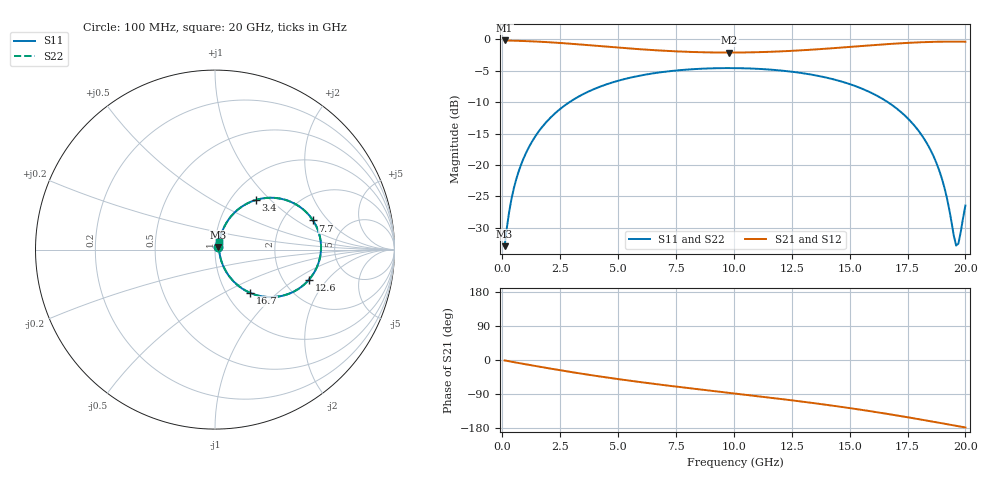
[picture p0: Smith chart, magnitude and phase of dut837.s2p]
! Touchstone file exported from HFSS 2026.1.0
!  File:  C:/ffzhzh/LocalFiles/Ansys_Project_Files/temp_train_TSV_RDL_837_1783267633_39728.aedt
!  Generated:  12:17:21 AM Jul  6, 2026
!  Design:  TSV_RDL
!  Project:  temp_train_TSV_RDL_837_1783267633_39728
! Variables:
!  h_bsmrdl = 2.57um
!  h_ox = 20um
!  h_rdl = 5um
!  h_sub = 50.45um
!  h_tmrdl = 2.85um
!  h_tsv = 50.45um
!  h_via = 3um
!  l_bsmrdl = 535.66um
!  l_sub = 3172.53um
!  l_tmrdl = 259.01um
!  m_sub = 200um
!  pitch = 54.67um
!  r_tsv = 5.6um
!  s_tmrdl = 10um
!  w_bsmrdl = 28.02um
!  w_sub = 500um
!  w_tmrdl = 15.15um
!  x_tsv_center1 = 266.585um
!  x_tsv_center2 = 830.265um
!  x_tsv_center3 = 1104.425um
!  x_tsv_center4 = 1668.105um
!  x_tsv_center5 = 1942.265um
!  x_tsv_center6 = 2505.945um
# GHz S MA R 50.000000
! Terminal data exported
! Port[1] = TM_RDL1_1_T1
! Port[2] = TM_RDL5_1_T1
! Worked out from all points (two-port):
!   200 points, 100 MHz to 20 GHz, reference 50 ohm
!   highest |S21| = -0.16 dB at 100 MHz (marker M1); lowest = -2.1 dB at 9.8 GHz (marker M2)
!   |S21| within 3 dB of the highest: start of sweep to end of sweep
!   lowest |S11| = -32.9 dB at 100 MHz (marker M3), VSWR 1.05, Z = 51.9 + j1.3 ohm
!   |S11| at or under -10 dB: start of sweep to 2.899 GHz; 16.65 GHz to end of sweep
!   |S22| runs from -32.9 to -4.6 dB; largest |S21 - S12| = 1.7e-14
!   S11 on the Smith chart (normalised r, x): 100 MHz: 1.04, +0.03; 3.4 GHz: 1.30, +0.82; 7.7 GHz: 2.90, +1.40; 12.6 GHz: 2.74, -1.31; 16.7 GHz: 1.28, -0.69; 20 GHz: 1.04, +0.09
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0.1  0.02252 33.7  0.9814 -1.2  0.9814 -1.2  0.02252 33.7
! Gamma 0 0 0 0
! Port Impedance 50 0 50 0
0.3  0.04267 59.3  0.9798 -3.5  0.9798 -3.5  0.04267 59.3
0.5  0.06529 65.9  0.9774 -5.7  0.9774 -5.7  0.06529 65.9
1.1  0.133 68.1  0.9689 -12.3  0.9689 -12.3  0.133 68.1
2.1  0.2399 61.6  0.9479 -22.9  0.9479 -22.9  0.2399 61.6
3.4  0.359 50.5  0.9105 -35.9  0.9105 -35.9  0.359 50.5
3.5  0.367 49.6  0.9073 -36.9  0.9073 -36.9  0.367 49.6
5  0.4684 37.0  0.8611 -50.4  0.8611 -50.4  0.4684 37.0
6.8  0.5462 23.1  0.8161 -64.9  0.8161 -64.9  0.5462 23.1
7.7  0.5697 16.6  0.8007 -71.6  0.8007 -71.6  0.5697 16.6
9.8  0.5911 2.0  0.7859 -86.7  0.7859 -86.7  0.5911 2.0
10.1  0.5906 -0.1  0.7862 -88.8  0.7862 -88.8  0.5906 -0.0
12.6  0.5503 -17.7  0.8128 -107.1  0.8128 -107.1  0.5503 -17.6
13.4  0.5224 -23.6  0.8295 -113.4  0.8295 -113.4  0.5225 -23.6
15.2  0.4281 -38.0  0.877 -128.7  0.877 -128.7  0.4281 -38.0
16.7  0.3119 -50.8  0.9194 -142.9  0.9194 -142.9  0.3119 -50.7
17.8  0.2056 -59.7  0.9447 -154.2  0.9447 -154.2  0.2056 -59.6
18.6  0.12 -63.6  0.9566 -162.8  0.9566 -162.8  0.12 -63.4
19.1  0.06533 -59.6  0.9603 -168.2  0.9603 -168.2  0.0654 -59.4
19.6  0.02278 -5.2  0.961 -173.7  0.961 -173.7  0.02301 -5.1
19.7  0.02363 22.3  0.9607 -174.8  0.9607 -174.8  0.02385 22.2
20  0.04745 62.5  0.9592 -178.1  0.9592 -178.1  0.04757 62.3
